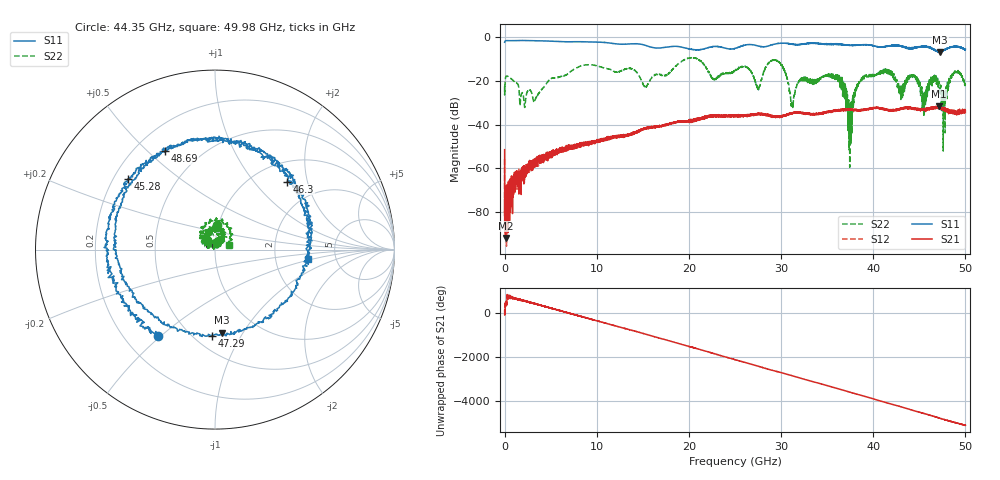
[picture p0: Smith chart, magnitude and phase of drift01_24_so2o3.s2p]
!Created with skrf (http://scikit-rf.org).
# Hz S RI R 50.0
!freq ReS11 ImS11 ReS21 ImS21 ReS12 ImS12 ReS22 ImS22
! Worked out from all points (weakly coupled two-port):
!   10001 points, 300 kHz to 50 GHz, reference 50 ohm
!   highest |S21| = -31.46 dB at 47.09 GHz (marker M1); lowest = -91.9 dB at 100.3 MHz (marker M2)
!   lowest |S11| = -6.7 dB at 47.25 GHz (marker M3), VSWR 2.74, Z = 34.3 - j40.6 ohm
!   |S11| at or under -10 dB: nowhere
!   |S22| runs from -59.5 to -9.2 dB; largest |S21 - S12| = 0.004
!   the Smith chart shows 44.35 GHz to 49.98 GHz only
!   S11 on the Smith chart (normalised r, x): 44.35 GHz: 0.34, -0.49; 45.28 GHz: 0.26, +0.33; 46.3 GHz: 1.39, +1.52; 47.29 GHz: 0.61, -0.76; 48.69 GHz: 0.32, +0.57; 49.98 GHz: 3.10, -0.43
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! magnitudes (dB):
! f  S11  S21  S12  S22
! 300 kHz  -2.2  -51.4  -55.8  -22.4
! 100.3 MHz  -1.5  -91.9  -81.1  -18.4
! 3.29 GHz  -1.5  -57.9  -56.9  -28.8
! 8.335 GHz  -1.9  -49.3  -48.8  -12.9
! 16.67 GHz  -4.8  -40.8  -40.6  -16.7
! 25 GHz  -5.0  -36.0  -36.1  -15.4
! 29.59 GHz  -2.8  -36.5  -36.4  -10.7
! 31.23 GHz  -3.1  -34.6  -34.7  -30.9
! 33.34 GHz  -2.6  -35.0  -35.0  -20.4
! 36.08 GHz  -3.0  -33.5  -33.5  -18.4
! 37.47 GHz  -3.6  -33.3  -33.2  -38.5
! 38.65 GHz  -3.4  -33.0  -33.3  -19.9
! 41.67 GHz  -3.9  -33.2  -33.4  -15.5
! 44.35 GHz  -4.7  -32.7  -32.7  -17.3
! 45.28 GHz  -4.1  -33.0  -32.9  -25.3
! 46.3 GHz  -5.1  -32.7  -32.3  -18.3
! 47.09 GHz  -6.5  -31.5  -32.3  -21.5
! 47.25 GHz  -6.7  -33.0  -32.2  -25.1
! 47.29 GHz  -6.4  -32.3  -32.3  -22.4
! 48.69 GHz  -4.2  -34.6  -34.7  -16.3
! 49.98 GHz  -5.7  -33.2  -33.4  -21.7
! 50 GHz  -5.4  -34.4  -33.3  -21.7
